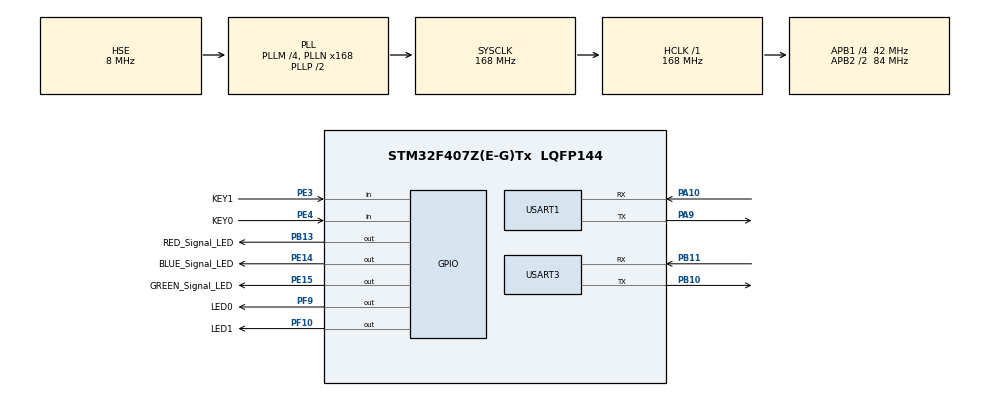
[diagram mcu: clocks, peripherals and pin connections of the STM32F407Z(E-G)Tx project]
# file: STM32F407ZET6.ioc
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Dma.Request0=USART1_RX
Dma.Request1=USART1_TX
Dma.Request2=USART3_RX
Dma.Request3=USART3_TX
Dma.USART1_RX.0.Direction=DMA_PERIPH_TO_MEMORY
Dma.USART1_RX.0.FIFOMode=DMA_FIFOMODE_DISABLE
Dma.USART1_RX.0.Instance=DMA2_Stream2
Dma.USART1_RX.0.MemDataAlignment=DMA_MDATAALIGN_BYTE
Dma.USART1_RX.0.MemInc=DMA_MINC_ENABLE
Dma.USART1_RX.0.Mode=DMA_NORMAL
Dma.USART1_RX.0.PeriphDataAlignment=DMA_PDATAALIGN_BYTE
Dma.USART1_RX.0.PeriphInc=DMA_PINC_DISABLE
Dma.USART1_RX.0.Priority=DMA_PRIORITY_LOW
Dma.USART1_TX.1.Direction=DMA_MEMORY_TO_PERIPH
Dma.USART1_TX.1.FIFOMode=DMA_FIFOMODE_DISABLE
Dma.USART1_TX.1.Instance=DMA2_Stream7
Dma.USART1_TX.1.MemDataAlignment=DMA_MDATAALIGN_BYTE
Dma.USART1_TX.1.MemInc=DMA_MINC_ENABLE
Dma.USART1_TX.1.Mode=DMA_NORMAL
Dma.USART1_TX.1.PeriphDataAlignment=DMA_PDATAALIGN_BYTE
Dma.USART1_TX.1.PeriphInc=DMA_PINC_DISABLE
Dma.USART1_TX.1.Priority=DMA_PRIORITY_LOW
Dma.USART3_RX.2.Direction=DMA_PERIPH_TO_MEMORY
Dma.USART3_RX.2.FIFOMode=DMA_FIFOMODE_DISABLE
Dma.USART3_RX.2.Instance=DMA1_Stream1
Dma.USART3_RX.2.MemDataAlignment=DMA_MDATAALIGN_BYTE
Dma.USART3_RX.2.MemInc=DMA_MINC_ENABLE
Dma.USART3_RX.2.Mode=DMA_NORMAL
Dma.USART3_RX.2.PeriphDataAlignment=DMA_PDATAALIGN_BYTE
Dma.USART3_RX.2.PeriphInc=DMA_PINC_DISABLE
Dma.USART3_RX.2.Priority=DMA_PRIORITY_LOW
Dma.USART3_TX.3.Direction=DMA_MEMORY_TO_PERIPH
Dma.USART3_TX.3.FIFOMode=DMA_FIFOMODE_DISABLE
Dma.USART3_TX.3.Instance=DMA1_Stream3
Dma.USART3_TX.3.MemDataAlignment=DMA_MDATAALIGN_BYTE
Dma.USART3_TX.3.MemInc=DMA_MINC_ENABLE
Dma.USART3_TX.3.Mode=DMA_NORMAL
Dma.USART3_TX.3.PeriphDataAlignment=DMA_PDATAALIGN_BYTE
Dma.USART3_TX.3.PeriphInc=DMA_PINC_DISABLE
Dma.USART3_TX.3.Priority=DMA_PRIORITY_LOW
Mcu.Family=STM32F4
Mcu.Name=STM32F407Z(E-G)Tx
Mcu.Package=LQFP144
NVIC.DMA1_Stream1_IRQn=true\:0\:0\:false\:false\:true\:false\:true\:true
NVIC.DMA1_Stream3_IRQn=true\:0\:0\:false\:false\:true\:false\:true\:true
NVIC.DMA2_Stream2_IRQn=true\:0\:0\:false\:false\:true\:false\:true\:true
NVIC.DMA2_Stream7_IRQn=true\:0\:0\:false\:false\:true\:false\:true\:true
NVIC.PriorityGroup=NVIC_PRIORITYGROUP_4
NVIC.TIM6_DAC_IRQn=true\:0\:0\:false\:false\:true\:true\:true\:true
NVIC.USART1_IRQn=true\:0\:0\:false\:false\:true\:true\:true\:true
NVIC.USART3_IRQn=true\:0\:0\:false\:false\:true\:true\:true\:true
PA0-WKUP.Mode=SYS_WakeUp0
PA0-WKUP.Signal=SYS_WKUP
PA10.Mode=Asynchronous
PA10.Signal=USART1_RX
PA13.Mode=JTAG_5_pins
PA13.Signal=SYS_JTMS-SWDIO
PA14.Mode=JTAG_5_pins
PA14.Signal=SYS_JTCK-SWCLK
PA15.Mode=JTAG_5_pins
PA15.Signal=SYS_JTDI
PA9.Mode=Asynchronous
PA9.Signal=USART1_TX
PB10.Mode=Asynchronous
PB10.Signal=USART3_TX
PB11.Mode=Asynchronous
PB11.Signal=USART3_RX
PB13.GPIO_Label=RED_Signal_LED
PB13.Signal=GPIO_Output
PB3.Mode=JTAG_5_pins
PB3.Signal=SYS_JTDO-SWO
PB4.Mode=JTAG_5_pins
PB4.Signal=SYS_JTRST
PB8.Signal=I2C1_SCL
PB9.Signal=I2C1_SDA
PC14-OSC32_IN.Mode=LSE-External-Oscillator
PC14-OSC32_IN.Signal=RCC_OSC32_IN
PC15-OSC32_OUT.Mode=LSE-External-Oscillator
PC15-OSC32_OUT.Signal=RCC_OSC32_OUT
PE14.GPIO_Label=BLUE_Signal_LED
PE14.Signal=GPIO_Output
PE15.GPIO_Label=GREEN_Signal_LED
PE15.Signal=GPIO_Output
PE3.GPIO_Label=KEY1
PE3.Signal=GPIO_Input
PE4.GPIO_Label=KEY0
PE4.Signal=GPIO_Input
PF10.GPIO_Label=LED1
PF10.PinState=GPIO_PIN_SET
PF10.Signal=GPIO_Output
PF9.GPIO_Label=LED0
PF9.Signal=GPIO_Output
PH0-OSC_IN.Mode=HSE-External-Oscillator
PH0-OSC_IN.Signal=RCC_OSC_IN
PH1-OSC_OUT.Mode=HSE-External-Oscillator
PH1-OSC_OUT.Signal=RCC_OSC_OUT
ProjectManager.HeapSize=0x200
ProjectManager.StackSize=0x400
ProjectManager.TargetToolchain=STM32CubeIDE
RCC.48MHZClocksFreq_Value=48000000
RCC.AHBFreq_Value=168000000
RCC.APB1CLKDivider=RCC_HCLK_DIV4
RCC.APB1Freq_Value=42000000
RCC.APB1TimFreq_Value=84000000
RCC.APB2CLKDivider=RCC_HCLK_DIV2
RCC.APB2Freq_Value=84000000
RCC.APB2TimFreq_Value=168000000
RCC.CortexFreq_Value=168000000
RCC.HCLKFreq_Value=168000000
RCC.HSE_VALUE=8000000
RCC.HSI_VALUE=16000000
RCC.PLLM=4
RCC.PLLN=168
RCC.PLLQ=7
RCC.PLLSourceVirtual=RCC_PLLSOURCE_HSE
RCC.SYSCLKFreq_VALUE=168000000
RCC.SYSCLKSource=RCC_SYSCLKSOURCE_PLLCLK
RCC.VCOOutputFreq_Value=336000000
TIM6.AutoReloadPreload=TIM_AUTORELOAD_PRELOAD_DISABLE
TIM6.Period=1000
TIM6.Prescaler=84
USART1.VirtualMode=VM_ASYNC
USART3.VirtualMode=VM_ASYNC
VP_TIM6_VS_ClockSourceINT.Mode=Enable_Timer
board=custom

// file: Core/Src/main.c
/* USER CODE BEGIN Header */
/**
  ******************************************************************************
  * @file           : main.c
  * @brief          : Main program body
  ******************************************************************************
  * @attention
  *
  * Copyright (c) 2024 STMicroelectronics.
  * All rights reserved.
  *
  * This software is licensed under terms that can be found in the LICENSE file
  * in the root directory of this software component.
  * If no LICENSE file comes with this software, it is provided AS-IS.
  *
  ******************************************************************************
  */
/* USER CODE END Header */
#include "main.h"

/* USER CODE BEGIN Includes */
//#include "WT901BCTTL.h"
/* USER CODE END Includes */

/* USER CODE BEGIN PTD */
typedef struct{
	uint8_t First_Byte;
	uint8_t Second_Byte;
	uint8_t YY;
	uint8_t MM;
	uint8_t DD;
	uint8_t hh;
	uint8_t mm;
	uint8_t ss;
	uint8_t msL;
	uint8_t msH;
	uint8_t SUM;
} WT901_Time_Str_t;

typedef struct{
	uint8_t First_Byte;
	uint8_t Second_Byte;
	uint8_t AxL;
	uint8_t AxH;
	uint8_t AyL;
	uint8_t AyH;
	uint8_t AzL;
	uint8_t AzH;
	uint8_t TL;
	uint8_t TH;
	uint8_t SUM;
} WT901_Acceleration_Str_t;

/* USER CODE END PTD */

TIM_HandleTypeDef htim6;

UART_HandleTypeDef huart1;
UART_HandleTypeDef huart3;
DMA_HandleTypeDef hdma_usart1_rx;
DMA_HandleTypeDef hdma_usart1_tx;
DMA_HandleTypeDef hdma_usart3_rx;
DMA_HandleTypeDef hdma_usart3_tx;

/* USER CODE BEGIN PV */
//uint8_t CH340_TX_Buffer[64] = "ch340 test message\n";
uint8_t CH340_TX_Buffer[64] = {0x00};
uint8_t CH340_RX_Buffer[64];

//uint8_t WT901_TX_Buffer[5] = {0xff, 0xaa, 0x02, 0x01, 0x00};
uint8_t WT901_TX_Buffer[5] = {0xff, 0xaa, 0x02, 0x02, 0x00};
uint8_t WT901_RX_Buffer[11];

uint8_t WT901_TX_Save[5] = {0xFF, 0xAA, 0x00, 0x00, 0x00};
uint8_t WT901_TX_ALG[5] = {0xFF, 0xAA, 0x24, 0x00, 0x00};
uint8_t WT901_TX_GYRO[5] = {0xFF, 0xAA, 0x63, 0x00, 0x00};
uint8_t WT901_TX_Ret[5] = {0xFF, 0xAA, 0x02, 0x5E, 0x00};

//uint8_t CDC_TX_Buffer[64];
//uint8_t CDC_RX_Buffer[64];

WT901_Time_Str_t WT901_Time;
WT901_Acceleration_Str_t WT901_Acceleration;

Bool Timer_200Hz_Trig = False;

/* USER CODE END PV */

void SystemClock_Config(void);
static void MX_GPIO_Init(void);
static void MX_DMA_Init(void);
static void MX_USART1_UART_Init(void);
static void MX_USART3_UART_Init(void);
static void MX_TIM6_Init(void);

/* USER CODE BEGIN 0 */
void HAL_UART_TxCpltCallback(UART_HandleTypeDef *huart){
	if(huart->Instance == USART1){
		HAL_GPIO_TogglePin(LED1_GPIO_Port, LED1_Pin);
	}

	if(huart->Instance == USART3){
		HAL_GPIO_TogglePin(LED1_GPIO_Port, LED1_Pin);
		WT901_Update_Message();
	}
}

void HAL_UART_RxCpltCallback(UART_HandleTypeDef *huart){
	if(huart->Instance == USART1){
		HAL_GPIO_TogglePin(LED0_GPIO_Port, LED0_Pin);
	}

	if(huart->Instance == USART3){
		WT901_Update_Message();
		for(uint8_t i = 0; i < 11; i++){
			CH340_TX_Buffer[i] = WT901_RX_Buffer[i];
		}
		HAL_GPIO_TogglePin(LED0_GPIO_Port, LED0_Pin);
	}
}

//void HAL_UART_TxHalfCpltCallback(UART_HandleTypeDef *huart){
//	if(huart->Instance == USART1){}
//	if(huart->Instance == USART3){}
//}

//void HAL_UART_RxHalfCpltCallback(UART_HandleTypeDef *huart){
//	if(huart->Instance == USART1){}
//	if(huart->Instance == USART3){}
//}

void HAL_TIM_PeriodElapsedCallback(TIM_HandleTypeDef *htim){
	if(htim->Instance == TIM6){
		HAL_GPIO_TogglePin(BLUE_Signal_LED_GPIO_Port, BLUE_Signal_LED_Pin);
		Timer_200Hz_Trig = !(Timer_200Hz_Trig);
	}
}

//void HAL_TIM_PeriodElapsedHalfCpltCallback(TIM_HandleTypeDef *htim){}

/* USER CODE END 0 */

int main(void)
{

  /* MCU Configuration--------------------------------------------------------*/

  /* Reset of all peripherals, Initializes the Flash interface and the Systick. */
  HAL_Init();

  /* Configure the system clock */
  SystemClock_Config();

  /* Initialize all configured peripherals */
  MX_GPIO_Init();
  MX_DMA_Init();
  MX_USART1_UART_Init();
  MX_USART3_UART_Init();
  MX_TIM6_Init();
  /* USER CODE BEGIN 2 */
  HAL_TIM_Base_Start_IT(&htim6);

  //HAL_UART_Transmit_DMA(&huart3, WT901_TX_Buffer, sizeof(WT901_TX_Buffer));

  HAL_UART_Transmit_DMA(&huart3, WT901_TX_ALG, sizeof(WT901_TX_ALG));
  HAL_UART_Transmit_DMA(&huart3, WT901_TX_GYRO, sizeof(WT901_TX_GYRO));
  HAL_UART_Transmit_DMA(&huart3, WT901_TX_Ret, sizeof(WT901_TX_Ret));
  HAL_UART_Transmit_DMA(&huart3, WT901_TX_Save, sizeof(WT901_TX_Save));

  /* USER CODE END 2 */

  /* Infinite loop */
  while (1)
  {

    /* USER CODE BEGIN 3 */
	  HAL_UART_Transmit_DMA(&huart1, CH340_TX_Buffer, sizeof(CH340_TX_Buffer));
//	  HAL_GPIO_TogglePin(LED0_GPIO_Port, LED0_Pin);
//	  HAL_GPIO_TogglePin(LED1_GPIO_Port, LED1_Pin);
	  HAL_Delay(500);
  }
  /* USER CODE END 3 */
}

void SystemClock_Config(void)
{
  RCC_OscInitTypeDef RCC_OscInitStruct = {0};
  RCC_ClkInitTypeDef RCC_ClkInitStruct = {0};

  /** Configure the main internal regulator output voltage
  */
  __HAL_RCC_PWR_CLK_ENABLE();
  __HAL_PWR_VOLTAGESCALING_CONFIG(PWR_REGULATOR_VOLTAGE_SCALE1);

  /** Initializes the RCC Oscillators according to the specified parameters
  * in the RCC_OscInitTypeDef structure.
  */
  RCC_OscInitStruct.OscillatorType = RCC_OSCILLATORTYPE_HSE;
  RCC_OscInitStruct.HSEState = RCC_HSE_ON;
  RCC_OscInitStruct.PLL.PLLState = RCC_PLL_ON;
  RCC_OscInitStruct.PLL.PLLSource = RCC_PLLSOURCE_HSE;
  RCC_OscInitStruct.PLL.PLLM = 4;
  RCC_OscInitStruct.PLL.PLLN = 168;
  RCC_OscInitStruct.PLL.PLLP = RCC_PLLP_DIV2;
  RCC_OscInitStruct.PLL.PLLQ = 7;
  if (HAL_RCC_OscConfig(&RCC_OscInitStruct) != HAL_OK)
  {
    Error_Handler();
  }

  /** Initializes the CPU, AHB and APB buses clocks
  */
  RCC_ClkInitStruct.ClockType = RCC_CLOCKTYPE_HCLK|RCC_CLOCKTYPE_SYSCLK
                              |RCC_CLOCKTYPE_PCLK1|RCC_CLOCKTYPE_PCLK2;
  RCC_ClkInitStruct.SYSCLKSource = RCC_SYSCLKSOURCE_PLLCLK;
  RCC_ClkInitStruct.AHBCLKDivider = RCC_SYSCLK_DIV1;
  RCC_ClkInitStruct.APB1CLKDivider = RCC_HCLK_DIV4;
  RCC_ClkInitStruct.APB2CLKDivider = RCC_HCLK_DIV2;

  if (HAL_RCC_ClockConfig(&RCC_ClkInitStruct, FLASH_LATENCY_5) != HAL_OK)
  {
    Error_Handler();
  }
}

static void MX_TIM6_Init(void)
{

  TIM_MasterConfigTypeDef sMasterConfig = {0};

  htim6.Instance = TIM6;
  htim6.Init.Prescaler = 83;
  htim6.Init.CounterMode = TIM_COUNTERMODE_UP;
  htim6.Init.Period = 5000;
  htim6.Init.AutoReloadPreload = TIM_AUTORELOAD_PRELOAD_DISABLE;
  if (HAL_TIM_Base_Init(&htim6) != HAL_OK)
  {
    Error_Handler();
  }
  sMasterConfig.MasterOutputTrigger = TIM_TRGO_RESET;
  sMasterConfig.MasterSlaveMode = TIM_MASTERSLAVEMODE_DISABLE;
  if (HAL_TIMEx_MasterConfigSynchronization(&htim6, &sMasterConfig) != HAL_OK)
  {
    Error_Handler();
  }

}

static void MX_USART1_UART_Init(void)
{

  huart1.Instance = USART1;
  huart1.Init.BaudRate = 115200;
  huart1.Init.WordLength = UART_WORDLENGTH_8B;
  huart1.Init.StopBits = UART_STOPBITS_1;
  huart1.Init.Parity = UART_PARITY_NONE;
  huart1.Init.Mode = UART_MODE_TX_RX;
  huart1.Init.HwFlowCtl = UART_HWCONTROL_NONE;
  huart1.Init.OverSampling = UART_OVERSAMPLING_16;
  if (HAL_UART_Init(&huart1) != HAL_OK)
  {
    Error_Handler();
  }

}

static void MX_USART3_UART_Init(void)
{

  huart3.Instance = USART3;
  huart3.Init.BaudRate = 115200;
  huart3.Init.WordLength = UART_WORDLENGTH_8B;
  huart3.Init.StopBits = UART_STOPBITS_1;
  huart3.Init.Parity = UART_PARITY_NONE;
  huart3.Init.Mode = UART_MODE_TX_RX;
  huart3.Init.HwFlowCtl = UART_HWCONTROL_NONE;
  huart3.Init.OverSampling = UART_OVERSAMPLING_16;
  if (HAL_UART_Init(&huart3) != HAL_OK)
  {
    Error_Handler();
  }

}

static void MX_DMA_Init(void)
{

  /* DMA controller clock enable */
  __HAL_RCC_DMA2_CLK_ENABLE();
  __HAL_RCC_DMA1_CLK_ENABLE();

  /* DMA interrupt init */
  /* DMA1_Stream1_IRQn interrupt configuration */
  HAL_NVIC_SetPriority(DMA1_Stream1_IRQn, 0, 0);
  HAL_NVIC_EnableIRQ(DMA1_Stream1_IRQn);
  /* DMA1_Stream3_IRQn interrupt configuration */
  HAL_NVIC_SetPriority(DMA1_Stream3_IRQn, 0, 0);
  HAL_NVIC_EnableIRQ(DMA1_Stream3_IRQn);
  /* DMA2_Stream2_IRQn interrupt configuration */
  HAL_NVIC_SetPriority(DMA2_Stream2_IRQn, 0, 0);
  HAL_NVIC_EnableIRQ(DMA2_Stream2_IRQn);
  /* DMA2_Stream7_IRQn interrupt configuration */
  HAL_NVIC_SetPriority(DMA2_Stream7_IRQn, 0, 0);
  HAL_NVIC_EnableIRQ(DMA2_Stream7_IRQn);

}

static void MX_GPIO_Init(void)
{
  GPIO_InitTypeDef GPIO_InitStruct = {0};

  /* GPIO Ports Clock Enable */
  __HAL_RCC_GPIOE_CLK_ENABLE();
  __HAL_RCC_GPIOC_CLK_ENABLE();
  __HAL_RCC_GPIOF_CLK_ENABLE();
  __HAL_RCC_GPIOH_CLK_ENABLE();
  __HAL_RCC_GPIOA_CLK_ENABLE();
  __HAL_RCC_GPIOB_CLK_ENABLE();

  /*Configure GPIO pin Output Level */
  HAL_GPIO_WritePin(LED0_GPIO_Port, LED0_Pin, GPIO_PIN_RESET);

  /*Configure GPIO pin Output Level */
  HAL_GPIO_WritePin(LED1_GPIO_Port, LED1_Pin, GPIO_PIN_SET);

  /*Configure GPIO pin Output Level */
  HAL_GPIO_WritePin(GPIOE, BLUE_Signal_LED_Pin|GREEN_Signal_LED_Pin, GPIO_PIN_RESET);

  /*Configure GPIO pin Output Level */
  HAL_GPIO_WritePin(RED_Signal_LED_GPIO_Port, RED_Signal_LED_Pin, GPIO_PIN_RESET);

  /*Configure GPIO pins : KEY1_Pin KEY0_Pin */
  GPIO_InitStruct.Pin = KEY1_Pin|KEY0_Pin;
  GPIO_InitStruct.Mode = GPIO_MODE_INPUT;
  GPIO_InitStruct.Pull = GPIO_NOPULL;
  HAL_GPIO_Init(GPIOE, &GPIO_InitStruct);

  /*Configure GPIO pins : LED0_Pin LED1_Pin */
  GPIO_InitStruct.Pin = LED0_Pin|LED1_Pin;
  GPIO_InitStruct.Mode = GPIO_MODE_OUTPUT_PP;
  GPIO_InitStruct.Pull = GPIO_NOPULL;
  GPIO_InitStruct.Speed = GPIO_SPEED_FREQ_LOW;
  HAL_GPIO_Init(GPIOF, &GPIO_InitStruct);

  /*Configure GPIO pins : BLUE_Signal_LED_Pin GREEN_Signal_LED_Pin */
  GPIO_InitStruct.Pin = BLUE_Signal_LED_Pin|GREEN_Signal_LED_Pin;
  GPIO_InitStruct.Mode = GPIO_MODE_OUTPUT_PP;
  GPIO_InitStruct.Pull = GPIO_NOPULL;
  GPIO_InitStruct.Speed = GPIO_SPEED_FREQ_LOW;
  HAL_GPIO_Init(GPIOE, &GPIO_InitStruct);

  /*Configure GPIO pin : RED_Signal_LED_Pin */
  GPIO_InitStruct.Pin = RED_Signal_LED_Pin;
  GPIO_InitStruct.Mode = GPIO_MODE_OUTPUT_PP;
  GPIO_InitStruct.Pull = GPIO_NOPULL;
  GPIO_InitStruct.Speed = GPIO_SPEED_FREQ_LOW;
  HAL_GPIO_Init(RED_Signal_LED_GPIO_Port, &GPIO_InitStruct);

  /*Configure GPIO pins : PB8 PB9 */
  GPIO_InitStruct.Pin = GPIO_PIN_8|GPIO_PIN_9;
  GPIO_InitStruct.Mode = GPIO_MODE_AF_OD;
  GPIO_InitStruct.Pull = GPIO_NOPULL;
  GPIO_InitStruct.Speed = GPIO_SPEED_FREQ_VERY_HIGH;
  GPIO_InitStruct.Alternate = GPIO_AF4_I2C1;
  HAL_GPIO_Init(GPIOB, &GPIO_InitStruct);

}

void Error_Handler(void)
{
  __disable_irq();
  while (1)
  {
  }
}
